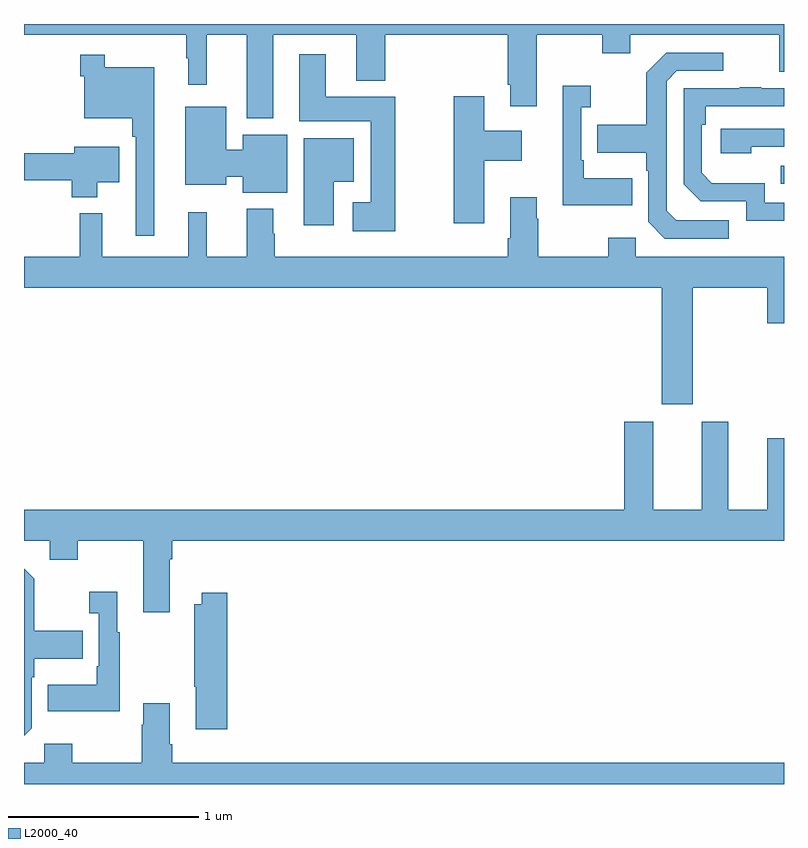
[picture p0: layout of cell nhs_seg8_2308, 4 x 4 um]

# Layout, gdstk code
import gdstk
lib = gdstk.Library(unit=1e-6, precision=1e-09)
def R(c, l, rs):  # rectangles x0, y0, x1, y1
    for r in rs: c.add(gdstk.rectangle(r[:2], r[2:], *l))
def P(c, l, *ps):  # polygons
    for p in ps: c.add(gdstk.Polygon(p, *l))
L2000_40 = (2000, 40)

nhs_seg8_2308 = lib.new_cell('nhs_seg8_2308')
R(nhs_seg8_2308, L2000_40, [(260.983,1105.059,261,1105.155)])
P(nhs_seg8_2308, L2000_40, [(258.313,1105.844),(258.749,1105.844),(258.749,1105.601),(258.902,1105.601),(258.902,1105.844),(259.547,1105.844),(259.547,1105.579),(259.559,1105.579),(259.559,1105.467),(259.699,1105.467),(259.699,1105.844),(260.044,1105.844),(260.044,1105.745),(260.191,1105.745),(260.191,1105.844),(260.975,1105.844),(260.975,1105.65),(261,1105.65),(261,1105.9),(257,1105.9),(257,1105.844),(257.853,1105.844),(257.853,1105.721),(257.864,1105.721),(257.864,1105.581),(257.963,1105.581),(257.963,1105.844),(258.173,1105.844),(258.173,1105.403),(258.313,1105.403)],
  [(260.71,1104.867),(260.433,1104.867),(260.382,1104.918),(260.382,1105.599),(260.436,1105.653),(260.68,1105.653),(260.68,1105.749),(260.379,1105.749),(260.274,1105.643),(260.274,1105.371),(260.017,1105.371),(260.017,1105.223),(260.274,1105.223),(260.274,1105.127),(260.286,1105.127),(260.286,1104.858),(260.373,1104.771),(260.71,1104.771)],
  [(258.954,1105.516),(258.589,1105.516),(258.589,1105.741),(258.449,1105.741),(258.449,1105.388),(258.824,1105.388),(258.824,1104.961),(258.729,1104.961),(258.729,1104.809),(258.954,1104.809)],
  [(257.686,1105.672),(257.425,1105.672),(257.425,1105.738),(257.296,1105.738),(257.296,1105.625),(257.316,1105.625),(257.316,1105.403),(257.569,1105.403),(257.569,1105.307),(257.589,1105.307),(257.589,1104.786),(257.686,1104.786)],
  [(260.201,1105.087),(259.945,1105.087),(259.945,1105.183),(259.932,1105.183),(259.932,1105.463),(259.984,1105.463),(259.984,1105.576),(259.835,1105.576),(259.835,1104.947),(260.201,1104.947)],
  [(261,1104.96),(260.898,1104.96),(260.898,1105.063),(260.621,1105.063),(260.568,1105.116),(260.568,1105.37),(260.588,1105.37),(260.588,1105.467),(261,1105.467),(261,1105.563),(260.879,1105.563),(260.879,1105.568),(260.767,1105.568),(260.767,1105.563),(260.472,1105.563),(260.472,1105.056),(260.562,1104.966),(260.802,1104.966),(260.802,1104.864),(261,1104.864)],
  [(259.423,1105.181),(259.621,1105.181),(259.621,1105.339),(259.423,1105.339),(259.423,1105.519),(259.261,1105.519),(259.261,1104.852),(259.423,1104.852)],
  [(258.385,1105.318),(258.152,1105.318),(258.152,1105.238),(258.064,1105.238),(258.064,1105.465),(257.849,1105.465),(257.849,1105.055),(258.064,1105.055),(258.064,1105.096),(258.152,1105.096),(258.152,1105.013),(258.385,1105.013)],
  [(260.828,1105.254),(261,1105.254),(261,1105.35),(260.666,1105.35),(260.666,1105.22),(260.828,1105.22)],
  [(258.631,1105.07),(258.736,1105.07),(258.736,1105.3),(258.473,1105.3),(258.473,1104.84),(258.631,1104.84)],
  [(257.386,1105.067),(257.5,1105.067),(257.5,1105.255),(257.264,1105.255),(257.264,1105.22),(257,1105.22),(257,1105.078),(257.252,1105.078),(257.252,1104.989),(257.386,1104.989)],
  [(260.521,1104.512),(260.912,1104.512),(260.912,1104.324),(261,1104.324),(261,1104.676),(260.22,1104.676),(260.22,1104.775),(260.074,1104.775),(260.074,1104.676),(259.707,1104.676),(259.707,1104.875),(259.699,1104.875),(259.699,1104.988),(259.559,1104.988),(259.559,1104.772),(259.547,1104.772),(259.547,1104.676),(258.321,1104.676),(258.321,1104.797),(258.313,1104.797),(258.313,1104.928),(258.173,1104.928),(258.173,1104.676),(257.963,1104.676),(257.963,1104.91),(257.864,1104.91),(257.864,1104.676),(257.411,1104.676),(257.411,1104.904),(257.293,1104.904),(257.293,1104.676),(257,1104.676),(257,1104.512),(260.357,1104.512),(260.357,1103.898),(260.521,1103.898)],
  [(257.767,1103.084),(257.779,1103.084),(257.779,1103.18),(261,1103.18),(261,1103.719),(260.912,1103.719),(260.912,1103.344),(260.707,1103.344),(260.707,1103.806),(260.567,1103.806),(260.567,1103.344),(260.311,1103.344),(260.311,1103.806),(260.159,1103.806),(260.159,1103.344),(257,1103.344),(257,1103.18),(257.135,1103.18),(257.135,1103.081),(257.283,1103.081),(257.283,1103.18),(257.627,1103.18),(257.627,1102.803),(257.767,1102.803)],
  [(257.04,1102.194),(257.04,1102.463),(257.053,1102.463),(257.053,1102.559),(257.309,1102.559),(257.309,1102.707),(257.053,1102.707),(257.053,1102.979),(257,1103.032),(257,1102.154)],
  [(257.503,1102.699),(257.491,1102.699),(257.491,1102.912),(257.343,1102.912),(257.343,1102.799),(257.394,1102.799),(257.394,1102.519),(257.382,1102.519),(257.382,1102.423),(257.125,1102.423),(257.125,1102.283),(257.503,1102.283)],
  [(258.071,1102.906),(257.936,1102.906),(257.936,1102.846),(257.896,1102.846),(257.896,1102.411),(257.903,1102.411),(257.903,1102.188),(258.071,1102.188)],
  [(257,1101.9),(261,1101.9),(261,1102.012),(257.779,1102.012),(257.779,1102.108),(257.767,1102.108),(257.767,1102.324),(257.627,1102.324),(257.627,1102.211),(257.62,1102.211),(257.62,1102.012),(257.253,1102.012),(257.253,1102.111),(257.106,1102.111),(257.106,1102.012),(257,1102.012)])

lib.write_gds('nhs_seg8_2308.gds')
